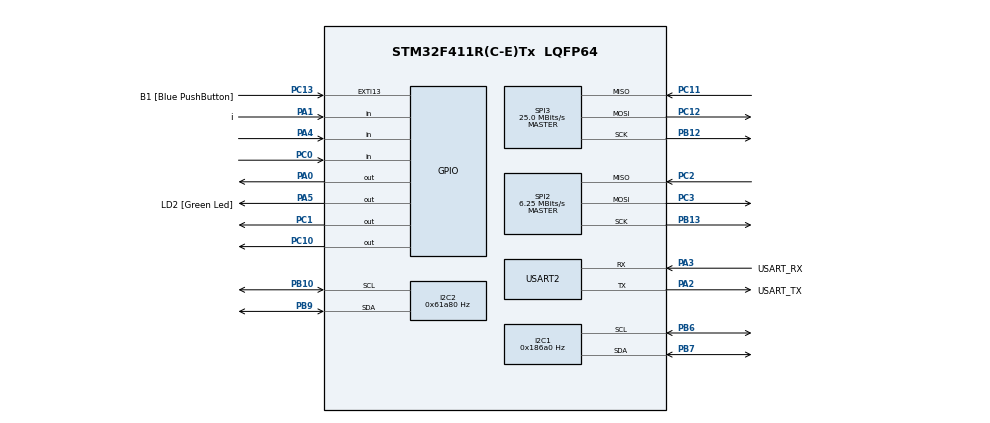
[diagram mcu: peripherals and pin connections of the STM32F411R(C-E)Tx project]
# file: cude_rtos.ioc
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ADC1.Channel-0\#ChannelRegularConversion=ADC_CHANNEL_TEMPSENSOR
ADC1.ContinuousConvMode=DISABLE
ADC1.NbrOfConversionFlag=1
ADC1.Rank-0\#ChannelRegularConversion=1
ADC1.SamplingTime-0\#ChannelRegularConversion=ADC_SAMPLETIME_3CYCLES
ADC1.ScanConvMode=ENABLE
ADC1.master=1
Dma.ADC1.5.Direction=DMA_PERIPH_TO_MEMORY
Dma.ADC1.5.FIFOMode=DMA_FIFOMODE_DISABLE
Dma.ADC1.5.Instance=DMA2_Stream0
Dma.ADC1.5.MemDataAlignment=DMA_MDATAALIGN_HALFWORD
Dma.ADC1.5.MemInc=DMA_MINC_ENABLE
Dma.ADC1.5.Mode=DMA_CIRCULAR
Dma.ADC1.5.PeriphDataAlignment=DMA_PDATAALIGN_HALFWORD
Dma.ADC1.5.PeriphInc=DMA_PINC_DISABLE
Dma.ADC1.5.Priority=DMA_PRIORITY_LOW
Dma.Request0=USART2_RX
Dma.Request1=SPI2_RX
Dma.Request2=SPI2_TX
Dma.Request3=SPI3_RX
Dma.Request4=SPI3_TX
Dma.Request5=ADC1
Dma.SPI2_RX.1.Direction=DMA_PERIPH_TO_MEMORY
Dma.SPI2_RX.1.FIFOMode=DMA_FIFOMODE_DISABLE
Dma.SPI2_RX.1.Instance=DMA1_Stream3
Dma.SPI2_RX.1.MemDataAlignment=DMA_MDATAALIGN_BYTE
Dma.SPI2_RX.1.MemInc=DMA_MINC_ENABLE
Dma.SPI2_RX.1.Mode=DMA_CIRCULAR
Dma.SPI2_RX.1.PeriphDataAlignment=DMA_PDATAALIGN_BYTE
Dma.SPI2_RX.1.PeriphInc=DMA_PINC_DISABLE
Dma.SPI2_RX.1.Priority=DMA_PRIORITY_LOW
Dma.SPI2_TX.2.Direction=DMA_MEMORY_TO_PERIPH
Dma.SPI2_TX.2.FIFOMode=DMA_FIFOMODE_DISABLE
Dma.SPI2_TX.2.Instance=DMA1_Stream4
Dma.SPI2_TX.2.MemDataAlignment=DMA_MDATAALIGN_BYTE
Dma.SPI2_TX.2.MemInc=DMA_MINC_ENABLE
Dma.SPI2_TX.2.Mode=DMA_CIRCULAR
Dma.SPI2_TX.2.PeriphDataAlignment=DMA_PDATAALIGN_BYTE
Dma.SPI2_TX.2.PeriphInc=DMA_PINC_DISABLE
Dma.SPI2_TX.2.Priority=DMA_PRIORITY_LOW
Dma.SPI3_RX.3.Direction=DMA_PERIPH_TO_MEMORY
Dma.SPI3_RX.3.FIFOMode=DMA_FIFOMODE_DISABLE
Dma.SPI3_RX.3.Instance=DMA1_Stream0
Dma.SPI3_RX.3.MemDataAlignment=DMA_MDATAALIGN_BYTE
Dma.SPI3_RX.3.MemInc=DMA_MINC_ENABLE
Dma.SPI3_RX.3.Mode=DMA_NORMAL
Dma.SPI3_RX.3.PeriphDataAlignment=DMA_PDATAALIGN_BYTE
Dma.SPI3_RX.3.PeriphInc=DMA_PINC_DISABLE
Dma.SPI3_RX.3.Priority=DMA_PRIORITY_LOW
Dma.SPI3_TX.4.Direction=DMA_MEMORY_TO_PERIPH
Dma.SPI3_TX.4.FIFOMode=DMA_FIFOMODE_DISABLE
Dma.SPI3_TX.4.Instance=DMA1_Stream7
Dma.SPI3_TX.4.MemDataAlignment=DMA_MDATAALIGN_BYTE
Dma.SPI3_TX.4.MemInc=DMA_MINC_ENABLE
Dma.SPI3_TX.4.Mode=DMA_NORMAL
Dma.SPI3_TX.4.PeriphDataAlignment=DMA_PDATAALIGN_BYTE
Dma.SPI3_TX.4.PeriphInc=DMA_PINC_DISABLE
Dma.SPI3_TX.4.Priority=DMA_PRIORITY_LOW
Dma.USART2_RX.0.Direction=DMA_PERIPH_TO_MEMORY
Dma.USART2_RX.0.FIFOMode=DMA_FIFOMODE_DISABLE
Dma.USART2_RX.0.Instance=DMA1_Stream5
Dma.USART2_RX.0.MemDataAlignment=DMA_MDATAALIGN_BYTE
Dma.USART2_RX.0.MemInc=DMA_MINC_ENABLE
Dma.USART2_RX.0.Mode=DMA_CIRCULAR
Dma.USART2_RX.0.PeriphDataAlignment=DMA_PDATAALIGN_BYTE
Dma.USART2_RX.0.PeriphInc=DMA_PINC_DISABLE
Dma.USART2_RX.0.Priority=DMA_PRIORITY_LOW
I2C1.ClockSpeed=0x186a0
I2C1.DualAddressMode=I2C_DUALADDRESS_DISABLE
I2C1.GeneralCallMode=I2C_GENERALCALL_ENABLE
I2C1.I2C_Mode=I2C_Fast
I2C1.NoStretchMode=I2C_NOSTRETCH_DISABLE
I2C2.ClockSpeed=0x61a80
I2C2.I2C_Mode=I2C_Fast
Mcu.Family=STM32F4
Mcu.Name=STM32F411R(C-E)Tx
Mcu.Package=LQFP64
NVIC.DMA1_Stream0_IRQn=true\:0\:5\:false\:false\:true\:false\:true
NVIC.DMA1_Stream3_IRQn=true\:0\:0\:false\:false\:true\:false\:true
NVIC.DMA1_Stream4_IRQn=true\:0\:0\:false\:false\:true\:false\:true
NVIC.DMA1_Stream5_IRQn=true\:0\:5\:false\:false\:true\:false\:true
NVIC.DMA1_Stream7_IRQn=true\:0\:5\:false\:false\:true\:false\:true
NVIC.DMA2_Stream0_IRQn=true\:0\:0\:false\:false\:true\:false\:true
NVIC.I2C1_EV_IRQn=true\:0\:5\:false\:false\:true\:true\:true
NVIC.I2C2_EV_IRQn=true\:0\:5\:false\:false\:true\:true\:true
NVIC.PriorityGroup=NVIC_PRIORITYGROUP_0
NVIC.SPI2_IRQn=true\:0\:5\:false\:false\:true\:true\:true
NVIC.SPI3_IRQn=true\:0\:5\:false\:false\:true\:true\:true
NVIC.USART2_IRQn=true\:0\:5\:false\:false\:true\:true\:true
PA0-WKUP.Signal=GPIO_Output
PA1.GPIO_Label=i
PA1.Signal=GPIO_Input
PA13.GPIO_Label=TMS
PA13.Mode=Serial_Wire
PA13.Signal=SYS_JTMS-SWDIO
PA14.GPIO_Label=TCK
PA14.Mode=Serial_Wire
PA14.Signal=SYS_JTCK-SWCLK
PA2.GPIO_Label=USART_TX
PA2.Mode=Asynchronous
PA2.Signal=USART2_TX
PA3.GPIO_Label=USART_RX
PA3.Mode=Asynchronous
PA3.Signal=USART2_RX
PA4.Signal=GPIO_Input
PA5.GPIO_Label=LD2 [Green Led]
PA5.Signal=GPIO_Output
PB10.Mode=I2C
PB10.Signal=I2C2_SCL
PB12.Mode=Full_Duplex_Master
PB12.Signal=SPI3_SCK
PB13.Mode=Full_Duplex_Master
PB13.Signal=SPI2_SCK
PB3.GPIO_Label=SWO
PB3.Signal=SYS_JTDO-SWO
PB6.Mode=I2C
PB6.Signal=I2C1_SCL
PB7.Mode=I2C
PB7.Signal=I2C1_SDA
PB9.Mode=I2C
PB9.Signal=I2C2_SDA
PC0.Signal=GPIO_Input
PC1.Signal=GPIO_Output
PC10.Signal=GPIO_Output
PC11.Mode=Full_Duplex_Master
PC11.Signal=SPI3_MISO
PC12.Mode=Full_Duplex_Master
PC12.Signal=SPI3_MOSI
PC13-ANTI_TAMP.GPIO_Label=B1 [Blue PushButton]
PC13-ANTI_TAMP.GPIO_ModeDefaultEXTI=GPIO_MODE_IT_FALLING
PC13-ANTI_TAMP.Signal=GPXTI13
PC14-OSC32_IN.Mode=LSE-External-Oscillator
PC14-OSC32_IN.Signal=RCC_OSC32_IN
PC15-OSC32_OUT.Mode=LSE-External-Oscillator
PC15-OSC32_OUT.Signal=RCC_OSC32_OUT
PC2.Mode=Full_Duplex_Master
PC2.Signal=SPI2_MISO
PC3.Mode=Full_Duplex_Master
PC3.Signal=SPI2_MOSI
PH0\ -\ OSC_IN.Mode=HSE-External-Oscillator
PH0\ -\ OSC_IN.Signal=RCC_OSC_IN
PH1\ -\ OSC_OUT.Mode=HSE-External-Oscillator
PH1\ -\ OSC_OUT.Signal=RCC_OSC_OUT
ProjectManager.HeapSize=0x200
ProjectManager.StackSize=0x400
ProjectManager.TargetToolchain=STM32CubeIDE
RCC.48MHZClocksFreq_Value=50000000
RCC.AHBFreq_Value=100000000
RCC.APB1CLKDivider=RCC_HCLK_DIV2
RCC.APB1Freq_Value=50000000
RCC.APB1TimFreq_Value=100000000
RCC.APB2Freq_Value=100000000
RCC.APB2TimFreq_Value=100000000
RCC.CortexFreq_Value=100000000
RCC.FLatency-AdvancedSettings=FLASH_LATENCY_3
RCC.HCLKFreq_Value=100000000
RCC.HSE_VALUE=8000000
RCC.HSI_VALUE=16000000
RCC.PLLM=8
RCC.PLLN=100
RCC.SYSCLKFreq_VALUE=100000000
RCC.SYSCLKSource=RCC_SYSCLKSOURCE_PLLCLK
RCC.VCOOutputFreq_Value=200000000
SPI2.BaudRatePrescaler=SPI_BAUDRATEPRESCALER_8
SPI2.CalculateBaudRate=6.25 MBits/s
SPI2.Direction=SPI_DIRECTION_2LINES
SPI2.Mode=SPI_MODE_MASTER
SPI2.VirtualType=VM_MASTER
SPI3.CalculateBaudRate=25.0 MBits/s
SPI3.Direction=SPI_DIRECTION_2LINES
SPI3.Mode=SPI_MODE_MASTER
SPI3.VirtualType=VM_MASTER
USART2.VirtualMode=VM_ASYNC
VP_ADC1_TempSens_Input.Mode=IN-TempSens
VP_RTC_VS_RTC_Activate.Mode=RTC_Enabled
board=NUCLEO-F411RE

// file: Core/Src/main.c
/* USER CODE BEGIN Header */
/**
  ******************************************************************************
  * @file           : main.c
  * @brief          : Main program body
  ******************************************************************************
  * @attention
  *
  * <h2><center>&copy; Copyright (c) 2021 STMicroelectronics.
  * All rights reserved.</center></h2>
  *
  * This software component is licensed by ST under BSD 3-Clause license,
  * the "License"; You may not use this file except in compliance with the
  * License. You may obtain a copy of the License at:
  *                        opensource.org/licenses/BSD-3-Clause
  *
  ******************************************************************************
  */
/* USER CODE END Header */
#include "main.h"
#include "adc.h"
#include "dma.h"
#include "i2c.h"
#include "rtc.h"
#include "spi.h"
#include "usart.h"
#include "gpio.h"

/* USER CODE BEGIN Includes */
#include "stdio.h"
#include <stdint.h>
#include <stdbool.h>
#include <stdarg.h>
#include <string.h>
#include <stdlib.h>

uint8_t rec_data;
uint8_t rx_buf[256];
extern I2C_HandleTypeDef hi2c1;
/* Private function prototypes -----------------------------------------------*/
#ifdef __GNUC__
  /* With GCC, small printf (option LD Linker->Libraries->Small printf
     set to 'Yes') calls __io_putchar() */
  #define PUTCHAR_PROTOTYPE int __io_putchar(int ch)
#else
  #define PUTCHAR_PROTOTYPE int fputc(int ch, FILE *f)
#endif /* __GNUC__ */

/* USER CODE END Includes */

void SystemClock_Config(void);

/* USER CODE BEGIN 0 */

PUTCHAR_PROTOTYPE
{
  /* Place your implementation of fputc here */
  /* e.g. write a character to the EVAL_COM1 and Loop until the end of transmission */
  HAL_UART_Transmit(&huart2, (uint8_t *)&ch, 1, 0xFFFF);

  return ch;
}

/* USER CODE END 0 */

int main(void)
{

  /* MCU Configuration--------------------------------------------------------*/

  /* Reset of all peripherals, Initializes the Flash interface and the Systick. */
  HAL_Init();

  /* Configure the system clock */
  SystemClock_Config();

  /* Initialize all configured peripherals */
  MX_GPIO_Init();
  MX_USART2_UART_Init();
  MX_DMA_Init();
  MX_RTC_Init();
  MX_I2C1_Init();
  MX_SPI2_Init();
  MX_I2C2_Init();
  MX_SPI3_Init();
  MX_ADC1_Init();
  /* USER CODE BEGIN 2 */

  printf("\n\r UART Printf Example: retarget the C library printf function to the UART\n\r");

  //HAL_UART_Receive_IT(&huart2, &rec_data, 1);
  HAL_UART_Receive_DMA(&huart2,&rx_buf[0],256);

  /* USER CODE END 2 */

  /* Infinite loop */
  /* USER CODE BEGIN WHILE */
  HAL_GPIO_WritePin(GPIOA, GPIO_PIN_0, GPIO_PIN_SET);
  HAL_Delay(100);
  HAL_GPIO_WritePin(GPIOA, GPIO_PIN_0, GPIO_PIN_RESET);
  HAL_Delay(100);
  HAL_GPIO_WritePin(GPIOA, GPIO_PIN_0, GPIO_PIN_SET);
  HAL_Delay(100);

  uint32_t num = 0 ;
  while (1)
  {
    HAL_GPIO_TogglePin(LD2_GPIO_Port, LD2_Pin);
    HAL_Delay(1000*2);
    printf("Test\t: %ld\n\r",++num);
    /* USER CODE END WHILE */

  }
}

void SystemClock_Config(void)
{
  LL_FLASH_SetLatency(LL_FLASH_LATENCY_3);
  while(LL_FLASH_GetLatency()!= LL_FLASH_LATENCY_3)
  {
  }
  LL_PWR_SetRegulVoltageScaling(LL_PWR_REGU_VOLTAGE_SCALE1);
  LL_RCC_HSI_SetCalibTrimming(16);
  LL_RCC_HSI_Enable();

   /* Wait till HSI is ready */
  while(LL_RCC_HSI_IsReady() != 1)
  {

  }
  LL_RCC_LSI_Enable();

   /* Wait till LSI is ready */
  while(LL_RCC_LSI_IsReady() != 1)
  {

  }
  LL_PWR_EnableBkUpAccess();
  LL_RCC_PLL_ConfigDomain_SYS(LL_RCC_PLLSOURCE_HSI, LL_RCC_PLLM_DIV_8, 100, LL_RCC_PLLP_DIV_2);
  LL_RCC_PLL_Enable();

   /* Wait till PLL is ready */
  while(LL_RCC_PLL_IsReady() != 1)
  {

  }
  LL_RCC_SetAHBPrescaler(LL_RCC_SYSCLK_DIV_1);
  LL_RCC_SetAPB1Prescaler(LL_RCC_APB1_DIV_2);
  LL_RCC_SetAPB2Prescaler(LL_RCC_APB2_DIV_1);
  LL_RCC_SetSysClkSource(LL_RCC_SYS_CLKSOURCE_PLL);

   /* Wait till System clock is ready */
  while(LL_RCC_GetSysClkSource() != LL_RCC_SYS_CLKSOURCE_STATUS_PLL)
  {

  }
  LL_SetSystemCoreClock(100000000);

   /* Update the time base */
  if (HAL_InitTick (TICK_INT_PRIORITY) != HAL_OK)
  {
    Error_Handler();
  }
  LL_RCC_SetTIMPrescaler(LL_RCC_TIM_PRESCALER_TWICE);
}

/* USER CODE BEGIN 4 */
void HAL_UART_RxCpltCallback(UART_HandleTypeDef *huart)
{
  /*HAL_UART_Transmit(&huart2, (uint8_t *)&rec_data, 1, 0xFFFF);
  HAL_UART_Receive_IT(&huart2, &rec_data, 1);*/
  //HAL_UART_Receive_DMA(&huart2,&rec_data,256);
}

/* USER CODE END 4 */

void Error_Handler(void)
{
  __disable_irq();
  while (1)
  {
  }
}

/************************ (C) COPYRIGHT STMicroelectronics *****END OF FILE****/
